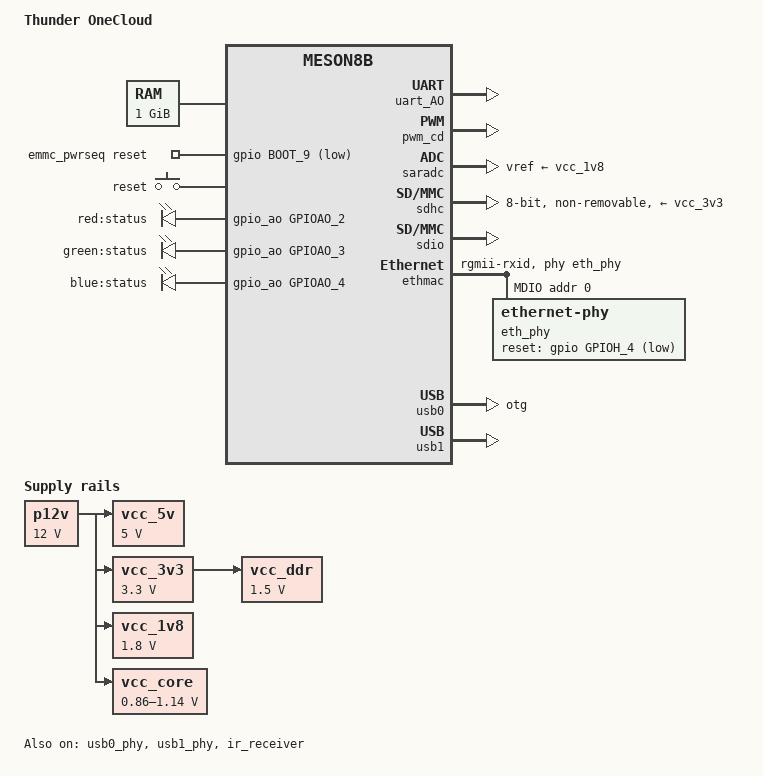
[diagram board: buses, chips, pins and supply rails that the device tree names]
// SPDX-License-Identifier: GPL-2.0 OR MIT

/dts-v1/;
#include "meson8b.dtsi"
#include <dt-bindings/gpio/gpio.h>
#include <dt-bindings/input/input.h>

/ {
	model = "Thunder OneCloud";
	compatible = "thunder,onecloud", "amlogic,meson8b";

	aliases {
		serial0 = &uart_AO;
		mmc0 = &sd_card_slot;
		mmc1 = &sdhc;
	};

	chosen {
		stdout-path = "serial0:115200n8";
	};

	memory {
		device_type = "memory";
		reg = <0x40000000 0x40000000>;
	};

	emmc_pwrseq: emmc-pwrseq {
		compatible = "mmc-pwrseq-emmc";
		reset-gpios = <&gpio BOOT_9 GPIO_ACTIVE_LOW>;
	};

	gpio-keys {
		// compatible = "gpio-keys-polled";
		// poll-interval = <100>;

		compatible = "gpio-keys";

		autorepeat;

		reset-button {
			label = "reset";
			linux,code = <BTN_0>;

			// gpios = <&gpio_ao GPIOAO_5 GPIO_ACTIVE_LOW>;

			interrupt-parent = <&gpio_intc>;
			interrupts = <5 IRQ_TYPE_LEVEL_LOW>; // GPIOAO 5
		};
	};

	leds {
		compatible = "gpio-leds";

		led_status_red: status-red {
			label = "red:status";
			gpios = <&gpio_ao GPIOAO_2 GPIO_ACTIVE_HIGH>;
		};

		led_status_green: status-green {
			label = "green:status";
			gpios = <&gpio_ao GPIOAO_3 GPIO_ACTIVE_HIGH>;
		};

		led_status_blue: status-blue {
			label = "blue:status";
			gpios = <&gpio_ao GPIOAO_4 GPIO_ACTIVE_HIGH>;
		};
	};

	p12v: regulator-p12v {
		compatible = "regulator-fixed";

		regulator-name = "P12V";
		regulator-min-microvolt = <12000000>;
		regulator-max-microvolt = <12000000>;
	};

	vcc_5v: regulator-vcc-5v {
		compatible = "regulator-fixed";

		regulator-name = "VCC5V";
		regulator-min-microvolt = <5000000>;
		regulator-max-microvolt = <5000000>;

		vin-supply = <&p12v>;

		regulator-boot-on;
		regulator-always-on;
	};

	vcc_3v3: regulator-vcc-3v3 {
		compatible = "regulator-fixed";

		regulator-name = "VCC3V3";
		regulator-min-microvolt = <3300000>;
		regulator-max-microvolt = <3300000>;

		vin-supply = <&p12v>;

		regulator-boot-on;
		regulator-always-on;
	};

	vcc_1v8: regulator-vcc-1v8 {
		compatible = "regulator-fixed";

		regulator-name = "VCC1V8";
		regulator-min-microvolt = <1800000>;
		regulator-max-microvolt = <1800000>;

		vin-supply = <&p12v>;

		regulator-boot-on;
		regulator-always-on;
	};

	vcc_ddr: regulator-vcc-ddr {
		compatible = "regulator-fixed";

		regulator-name = "VCC_DDR";
		regulator-min-microvolt = <1500000>;
		regulator-max-microvolt = <1500000>;

		vin-supply = <&vcc_3v3>;

		regulator-boot-on;
		regulator-always-on;
	};

	vcc_core: regulator-vcc-core {
		compatible = "pwm-regulator";

		regulator-name = "VCC_CORE";

		//   ---------------------------------------------------
		//   |           The actual mapping in phyical           |
		//   ----------------------------------------------
		//   |      |  100%  |   60%  |   30%  |   10%  |   0%   |
		//   ----------------------------------------------
		//   | V1.0 |  677mV |  857mV |  992mV | 1082mV | 1127mV |
		//   | V1.3 | 1116mV | 1121mV | 1125mV | 1128mV | 1129mV |
		//   ----------------------------------------------
		//
		// According to meson8b.dtsi, the CPU should be able to
		// run at 504MHz with 870mV. But this regulator supplies
		// not only CPU but also GPU. And according to the users'
		// tests on V1.0, we need such higher voltages.

		pwms = <&pwm_cd 1 12001 0>;	// PWM_D
		pwm-dutycycle-range = <10 0>;
		regulator-min-microvolt = <860000>;
		regulator-max-microvolt = <1140000>;

		pwm-supply = <&p12v>;

		regulator-boot-on;
		regulator-always-on;
	};
};

&uart_AO {
	status = "okay";
	pinctrl-0 = <&uart_ao_a_pins>;
	pinctrl-names = "default";
};

&pwm_cd {
	status = "okay";
	pinctrl-0 = <&pwm_c1_pins>, <&pwm_d_pins>;
	pinctrl-names = "default";
	clocks = <&xtal>, <&xtal>;
	clock-names = "clkin0", "clkin1";
};

&cpu0 {
	cpu-supply = <&vcc_core>;
};

&saradc {
	status = "okay";
	vref-supply = <&vcc_1v8>;
};

&gpio {
	gpio-line-names =
		/*  0 */ "WIFI_SDIO_D0 PIN18 (GPIOX_0)",
		/*  1 */ "WIFI_SDIO_D1 PIN19 (GPIOX_1)",
		/*  2 */ "WIFI_SDIO_D2 PIN14 (GPIOX_2)",
		/*  3 */ "WIFI_SDIO_D3 PIN15 (GPIOX_3)",
		/*  4 */ "WIFI_PCM_DIN PIN27 (GPIOX_4)",
		/*  5 */ "WIFI_PCM_DOUT PIN25 (GPIOX_5)",
		/*  6 */ "WIFI_PCM_SYNC PIN28 (GPIOX_6)",
		/*  7 */ "WIFI_PCM_CLK PIN26 (GPIOX_7)",
		/*  8 */ "WIFI_SDIO_CLK PIN17_Resistor (GPIOX_8)",
		/*  9 */ "WIFI_SDIO_CMD PIN16 (GPIOX_9)",
		/* 10 */ "GPIOX_10",
		/* 11 */ "WIFI PIN12 (GPIOX_11)",
		/* 12 */ "WIFI_UART_RX PIN43 (GPIOX_16)",
		/* 13 */ "WIFI_UART_TX PIN42 (GPIOX_17)",
		/* 14 */ "WIFI_UART_RTS PIN41_Resistor (GPIOX_18)",
		/* 15 */ "WIFI_UART_CTS PIN44 (GPIOX_19)",
		/* 16 */ "WIFI PIN34 (GPIOX_20)",
		/* 17 */ "WIFI_WAKE PIN13 (GPIOX_21)",

		/* 18 */ "Resistor_TopOf_LED (GPIOY_0)",
		/* 19 */ "GPIOY_1",
		/* 20 */ "GPIOY_3",
		/* 21 */ "GPIOY_6",
		/* 22 */ "GPIOY_7",
		/* 23 */ "GPIOY_8",
		/* 24 */ "GPIOY_9",
		/* 25 */ "GPIOY_10",
		/* 26 */ "GPIOY_11",
		/* 27 */ "GPIOY_12",
		/* 28 */ "Left_BottomOf_CPU (GPIOY_13)",
		/* 29 */ "Right_BottomOf_CPU (GPIOY_14)",

		/* 30 */ "GPIODV_9 (PWM_C)",
		/* 31 */ "GPIODV_24",
		/* 32 */ "GPIODV_25",
		/* 33 */ "GPIODV_26",
		/* 34 */ "GPIODV_27",
		/* 35 */ "VCC_CPU_PWM (GPIODV_28)",
		/* 36 */ "GPIODV_29",

		/* 37 */ "HDMI_HPD (GPIOH_0)",
		/* 38 */ "HDMI_SDA (GPIOH_1)",
		/* 39 */ "HDMI_SCL (GPIOH_2)",
		/* 40 */ "ETH_PHY_INTR (GPIOH_3)",
		/* 41 */ "ETH_PHY_nRST (GPIOH_4)",
		/* 42 */ "ETH_TXD1 (GPIOH_5)",
		/* 43 */ "ETH_TXD0 (GPIOH_6)",
		/* 44 */ "ETH_TXD3 (GPIOH_7)",
		/* 45 */ "ETH_TXD2 (GPIOH_8)",
		/* 46 */ "ETH_TX_CLK (GPIOH_9)",

		/* 47 */ "SDCARD_D1 (CARD_0)",
		/* 48 */ "SDCARD_D0 (CARD_1)",
		/* 49 */ "SDCARD_CLK (CARD_2)",
		/* 50 */ "SDCARD_CMD (CARD_3)",
		/* 51 */ "SDCARD_D3 (CARD_4)",
		/* 52 */ "SDCARD_D2 (CARD_5)",
		/* 53 */ "SDCARD_CD (CARD_6)",

		/* 54 */ "EMMC_D0 (BOOT_0)",
		/* 55 */ "EMMC_D1 (BOOT_1)",
		/* 56 */ "EMMC_D2 (BOOT_2)",
		/* 57 */ "EMMC_D3 (BOOT_3)",
		/* 58 */ "EMMC_D4 (BOOT_4)",
		/* 59 */ "EMMC_D5 (BOOT_5)",
		/* 60 */ "EMMC_D6 (BOOT_6)",
		/* 61 */ "EMMC_D7 (BOOT_7)",
		/* 62 */ "EMMC_CLK (BOOT_8)",
		/* 63 */ "EMMC_nRST (BOOT_9)",
		/* 64 */ "EMMC_CMD (BOOT_10)",
		/* 65 */ "BOOT_11",
		/* 66 */ "BOOT_12",
		/* 67 */ "BOOT_13",
		/* 68 */ "BOOT_14",
		/* 69 */ "BOOT_15",
		/* 70 */ "BOOT_16",
		/* 71 */ "BOOT_17",
		/* 72 */ "BOOT_18",

		/* 73 */ "ETH_RXD1 (DIF_0_P)",
		/* 74 */ "ETH_RXD0 (DIF_0_N)",
		/* 75 */ "ETH_RX_DV (DIF_1_P)",
		/* 76 */ "ETH_RX_CLK (DIF_1_N)",
		/* 77 */ "ETH_RXD3 (DIF_2_P)",
		/* 78 */ "ETH_RXD2 (DIF_2_N)",
		/* 79 */ "ETH_TX_EN (DIF_3_P)",
		/* 80 */ "ETH_REF_CLK (DIF_3_N)",
		/* 81 */ "ETH_MDC (DIF_4_P)",
		/* 82 */ "ETH_MDIO_EN (DIF_4_N)";
};

&gpio_ao {
	gpio-line-names =
		/*  0 */ "UART TX (GPIOAO_0)",
		/*  1 */ "UART RX (GPIOAO_1)",
		/*  2 */ "RED_LED (GPIOAO_2)",
		/*  3 */ "GREEN_LED (GPIOAO_3)",
		/*  4 */ "BLUE_LED (GPIOAO_4)",
		/*  5 */ "BUTTON (GPIOAO_5)",
		/*  6 */ "GPIOAO_6",
		/*  7 */ "IR_IN (GPIOAO_7)",
		/*  8 */ "GPIOAO_8",
		/*  9 */ "GPIOAO_9",
		/* 10 */ "GPIOAO_10",
		/* 11 */ "GPIOAO_11",
		/* 12 */ "GPIOAO_12",
		/* 13 */ "GPIOAO_13",

		/* 14 */ "GPIO_BSD_EN",
		/* 15 */ "GPIO_TEST_N";
};

// eMMC
&sdhc {
	status = "okay";

	pinctrl-0 = <&sdxc_c_pins>;
	pinctrl-names = "default";

	non-removable;
	bus-width = <8>;
	max-frequency = <200000000>;
	cap-mmc-highspeed;
	mmc-hs200-1_8v;

	mmc-pwrseq = <&emmc_pwrseq>;
	vmmc-supply = <&vcc_3v3>;
	// vqmmc-supply = <&vcc_3v3>;
};

&sdio {
	status = "okay";

	pinctrl-0 = <&sd_b_pins>;
	pinctrl-names = "default";

	// SD card
	sd_card_slot: slot@1 {
		compatible = "mmc-slot";
		reg = <1>;
		status = "okay";

		bus-width = <4>;
		no-sdio;
		cap-mmc-highspeed;
		cap-sd-highspeed;
		disable-wp;

		cd-gpios = <&gpio CARD_6 GPIO_ACTIVE_LOW>;

		vmmc-supply = <&vcc_3v3>;
		// vqmmc-supply = <&vcc_3v3>;
	};
};

&ethmac {
	status = "okay";

	pinctrl-0 = <&eth_rgmii_pins>;
	pinctrl-names = "default";

	phy-handle = <&eth_phy>;
	phy-mode = "rgmii-rxid";

	mdio {
		compatible = "snps,dwmac-mdio";
		#address-cells = <1>;
		#size-cells = <0>;

		// Realtek RTL8211F (0x001cc916)
		eth_phy: ethernet-phy@0 {
			reg = <0>;

			reset-assert-us = <10000>;
			reset-deassert-us = <80000>;
			reset-gpios = <&gpio GPIOH_4 GPIO_ACTIVE_LOW>;

			interrupt-parent = <&gpio_intc>;
			interrupts = <17 IRQ_TYPE_LEVEL_LOW>; // GPIOH 3
		};
	};
};

&usb0 {
	status = "okay";
	dr_mode = "otg";
	usb-role-switch;
	role-switch-default-mode = "host";
};

&usb0_phy {
	status = "okay";
};

&usb1 {
	status = "okay";
};

&usb1_phy {
	status = "okay";
};

&ir_receiver {
	status = "okay";
	pinctrl-0 = <&ir_recv_pins>;
	pinctrl-names = "default";
};
